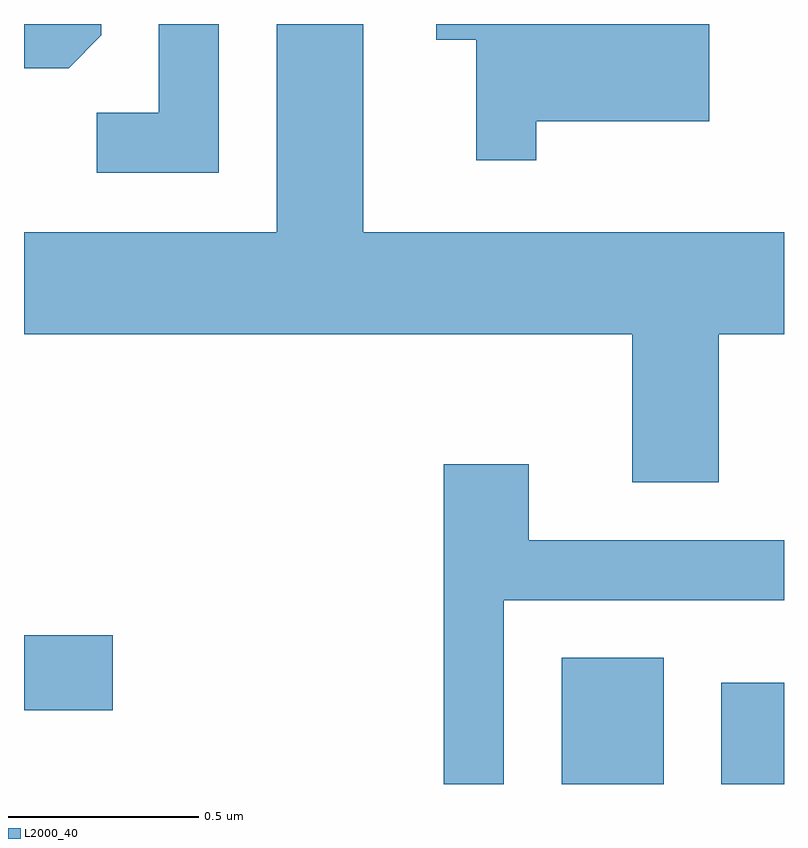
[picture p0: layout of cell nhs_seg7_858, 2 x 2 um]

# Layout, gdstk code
import gdstk
lib = gdstk.Library(unit=1e-6, precision=1e-09)
def R(c, l, rs):  # rectangles x0, y0, x1, y1
    for r in rs: c.add(gdstk.rectangle(r[:2], r[2:], *l))
def P(c, l, *ps):  # polygons
    for p in ps: c.add(gdstk.Polygon(p, *l))
L2000_40 = (2000, 40)

nhs_seg7_858 = lib.new_cell('nhs_seg7_858')
R(nhs_seg7_858, L2000_40, [(193.026,1704.252,193.294,1704.584), (193.446,1704.252,193.611,1704.519), (191.611,1704.446,191.844,1704.644)])
P(nhs_seg7_858, L2000_40, [(192.959,1705.996),(193.414,1705.996),(193.414,1706.252),(192.696,1706.252),(192.696,1706.211),(192.801,1706.211),(192.801,1705.893),(192.959,1705.893)],
  [(192.124,1706.252),(191.966,1706.252),(191.966,1706.019),(191.803,1706.019),(191.803,1705.861),(192.124,1705.861)],
  [(191.814,1706.222),(191.814,1706.252),(191.611,1706.252),(191.611,1706.136),(191.729,1706.136)],
  [(193.439,1705.436),(193.611,1705.436),(193.611,1705.704),(192.504,1705.704),(192.504,1706.252),(192.276,1706.252),(192.276,1705.704),(191.611,1705.704),(191.611,1705.436),(193.211,1705.436),(193.211,1705.046),(193.439,1705.046)],
  [(192.874,1704.736),(193.611,1704.736),(193.611,1704.894),(192.939,1704.894),(192.939,1705.094),(192.716,1705.094),(192.716,1704.252),(192.874,1704.252)])

lib.write_gds('nhs_seg7_858.gds')
